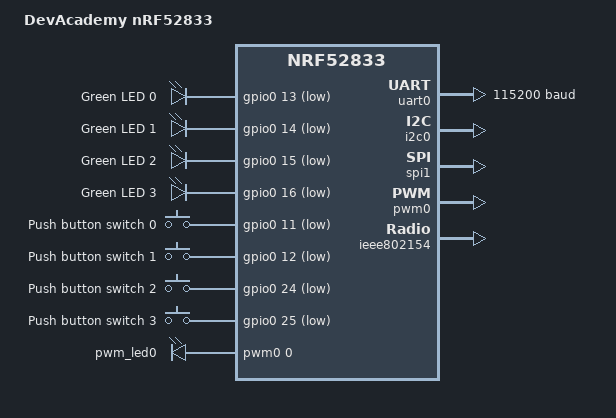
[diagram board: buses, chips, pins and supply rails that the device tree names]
// Copyright (c) 2023 Nordic Semiconductor ASA
// SPDX-License-Identifier: Apache-2.0

/dts-v1/;
#include <nordic/nrf52833_qiaa.dtsi>
#include "devacademy_nrf52833-pinctrl.dtsi"
/ {
	model = "DevAcademy nRF52833";
	compatible = "nordic-semiconductor,devacademy-nrf52833";

	chosen {
		zephyr,sram = &sram0;
		zephyr,flash = &flash0;
		zephyr,code-partition = &slot0_partition;
		zephyr,console =  &uart0 ;
		zephyr,shell-uart =  &uart0 ;
		zephyr,uart-mcumgr = &uart0;
		zephyr,ieee802154 = &ieee802154;
	};

	leds {
		compatible = "gpio-leds";
		led0: led_0 {
			gpios = <&gpio0 13 (GPIO_ACTIVE_LOW)>;
			label = "Green LED 0";
		};
		led1: led_1 {
			gpios = <&gpio0 14 (GPIO_ACTIVE_LOW)>;
			label = "Green LED 1";
		};
		led2: led_2 {
			gpios = <&gpio0 15 (GPIO_ACTIVE_LOW)>;
			label = "Green LED 2";
		};
		led3: led_3 {
			gpios = <&gpio0 16 (GPIO_ACTIVE_LOW)>;
			label = "Green LED 3";
		};					
	};

	buttons {
		compatible = "gpio-keys";
		button0: button_0 {
			gpios = <&gpio0 11 (GPIO_ACTIVE_LOW | GPIO_PULL_UP)>;
			label = "Push button switch 0";
		};
		button1: button_1 {
			gpios = <&gpio0 12 (GPIO_ACTIVE_LOW | GPIO_PULL_UP)>;
			label = "Push button switch 1";
		};
		button2: button_2 {
			gpios = <&gpio0 24 (GPIO_ACTIVE_LOW | GPIO_PULL_UP)>;
			label = "Push button switch 2";
		};
		button3: button_3 {
			gpios = <&gpio0 25 (GPIO_ACTIVE_LOW | GPIO_PULL_UP)>;
			label = "Push button switch 3";
		};				
	};

    pwmleds {
        compatible = "pwm-leds";
        pwm_led0: pwm_led_0 {
            pwms = <&pwm0 0 PWM_MSEC(20) PWM_POLARITY_INVERTED>;
        };
    };

	/* These aliases are provided for compatibility with samples */
	aliases {
		led0 = &led0;
		led1 = &led1;
		led2 = &led2;
		led3 = &led3;
		pwm-led0 = &pwm_led0;
		sw0 = &button0;
		sw1 = &button1;
		sw2 = &button2;
		sw3 = &button3;
		bootloader-led0 = &led0;
		mcuboot-button0 = &button0;
		mcuboot-led0 = &led0;
		watchdog0 = &wdt0;
	};
};

&flash0 {
	partitions {
		compatible = "fixed-partitions";
		#address-cells = <1>;
		#size-cells = <1>;

		boot_partition: partition@0 {
			label = "mcuboot";
			reg = <0x0 0xc000>;
		};
		slot0_partition: partition@c000 {
			label = "image-0";
			reg = <0xc000 0x32000>;
		};
		slot1_partition: partition@3e000 {
			label = "image-1";
			reg = <0x3e000 0x32000>;
		};
		scratch_partition: partition@70000 {
			label = "image-scratch";
			reg = <0x70000 0xa000>;
		};
		storage_partition: partition@7a000 {
			label = "storage";
			reg = <0x7a000 0x6000>;
		};
	};
};



&gpio0 {
	status = "okay";
};

&gpio1 {
	status = "okay";
};

&gpiote {
	status = "okay";
};

&uart0 {
	status = "okay";
	current-speed = <115200>;
	pinctrl-0 = <&uart0_default>;
	pinctrl-1 = <&uart0_sleep>;
	pinctrl-names = "default","sleep";
};

&i2c0 {
    status = "okay";
	pinctrl-0 = <&i2c0_default>;
	pinctrl-1 = <&i2c0_sleep>;
	pinctrl-names = "default","sleep";
};

&spi1 {
    status = "okay";
	pinctrl-0 = <&spi1_default>;
	pinctrl-1 = <&spi1_sleep>;
	pinctrl-names = "default","sleep";
};

&pwm0 {
    status = "okay";
	pinctrl-0 = <&pwm0_default>;
	pinctrl-1 = <&pwm0_sleep>;
	pinctrl-names = "default","sleep";
};


&ieee802154 {
	status = "okay";
};
